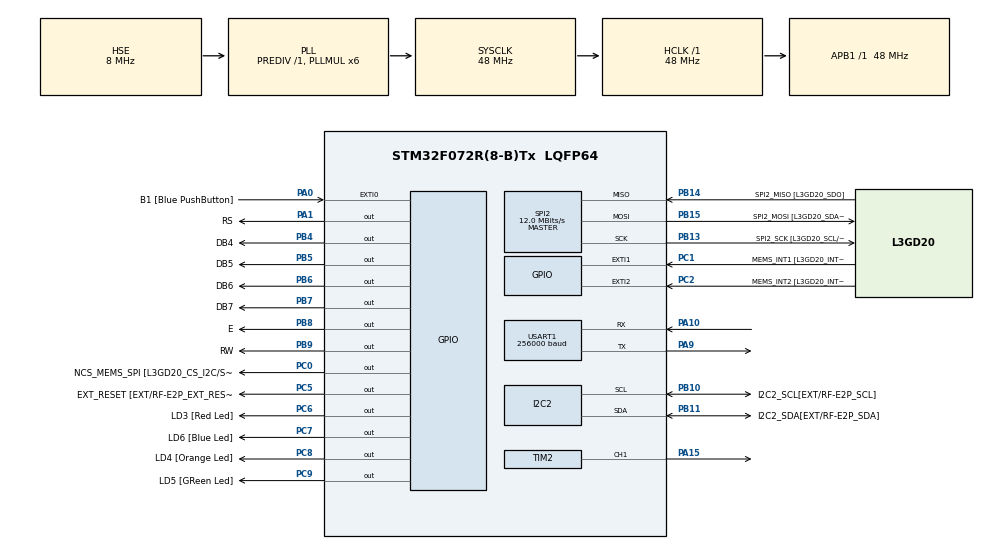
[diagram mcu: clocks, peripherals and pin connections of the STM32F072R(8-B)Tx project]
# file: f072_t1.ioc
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ADC.ContinuousConvMode=ENABLE
ADC.DMAContinuousRequests=ENABLE
ADC.SamplingTime=ADC_SAMPLETIME_239CYCLES_5
Dma.ADC.2.Direction=DMA_PERIPH_TO_MEMORY
Dma.ADC.2.Instance=DMA1_Channel1
Dma.ADC.2.MemDataAlignment=DMA_MDATAALIGN_HALFWORD
Dma.ADC.2.MemInc=DMA_MINC_ENABLE
Dma.ADC.2.Mode=DMA_CIRCULAR
Dma.ADC.2.PeriphDataAlignment=DMA_PDATAALIGN_HALFWORD
Dma.ADC.2.PeriphInc=DMA_PINC_DISABLE
Dma.ADC.2.Priority=DMA_PRIORITY_LOW
Dma.Request0=USART1_RX
Dma.Request1=USART1_TX
Dma.Request2=ADC
Dma.USART1_RX.0.Direction=DMA_PERIPH_TO_MEMORY
Dma.USART1_RX.0.Instance=DMA1_Channel3
Dma.USART1_RX.0.MemDataAlignment=DMA_MDATAALIGN_BYTE
Dma.USART1_RX.0.MemInc=DMA_MINC_ENABLE
Dma.USART1_RX.0.Mode=DMA_NORMAL
Dma.USART1_RX.0.PeriphDataAlignment=DMA_PDATAALIGN_BYTE
Dma.USART1_RX.0.PeriphInc=DMA_PINC_DISABLE
Dma.USART1_RX.0.Priority=DMA_PRIORITY_LOW
Dma.USART1_TX.1.Direction=DMA_MEMORY_TO_PERIPH
Dma.USART1_TX.1.Instance=DMA1_Channel2
Dma.USART1_TX.1.MemDataAlignment=DMA_MDATAALIGN_BYTE
Dma.USART1_TX.1.MemInc=DMA_MINC_ENABLE
Dma.USART1_TX.1.Mode=DMA_NORMAL
Dma.USART1_TX.1.PeriphDataAlignment=DMA_PDATAALIGN_BYTE
Dma.USART1_TX.1.PeriphInc=DMA_PINC_DISABLE
Dma.USART1_TX.1.Priority=DMA_PRIORITY_LOW
I2C2.Timing=0x20303E5D
IWDG.Prescaler=IWDG_PRESCALER_256
Mcu.Family=STM32F0
Mcu.Name=STM32F072R(8-B)Tx
Mcu.Package=LQFP64
Mcu.UserConstants=SYS_TICK_HZ,1000
NVIC.DMA1_Channel1_IRQn=true\:0\:0\:false\:false\:true\:false\:true\:true
NVIC.DMA1_Channel2_3_IRQn=true\:0\:0\:false\:false\:true\:false\:true\:true
PA0.GPIO_Label=B1 [Blue PushButton]
PA0.GPIO_ModeDefaultEXTI=GPIO_MODE_EVT_RISING
PA0.Signal=GPXTI0
PA1.GPIO_Label=RS
PA1.Signal=GPIO_Output
PA10.Mode=Asynchronous
PA10.Signal=USART1_RX
PA11.GPIO_Label=USBF4_DM
PA11.Signal=USB_DM
PA12.GPIO_Label=USBF4_DP
PA12.Signal=USB_DP
PA13.GPIO_Label=SWDIO
PA13.Mode=Serial_Wire
PA13.Signal=SYS_SWDIO
PA14.GPIO_Label=SWCLK
PA14.Mode=Serial_Wire
PA14.Signal=SYS_SWCLK
PA15.Signal=S_TIM2_CH1_ETR
PA9.Mode=Asynchronous
PA9.Signal=USART1_TX
PB0.Signal=TSC_G3_IO2
PB1.Signal=TSC_G3_IO3
PB10.GPIO_Label=I2C2_SCL[EXT/RF-E2P_SCL]
PB10.GPIO_Pu=GPIO_PULLUP
PB10.Mode=I2C
PB10.Signal=I2C2_SCL
PB11.GPIO_Label=I2C2_SDA[EXT/RF-E2P_SDA]
PB11.GPIO_Pu=GPIO_PULLUP
PB11.Mode=I2C
PB11.Signal=I2C2_SDA
PB13.GPIO_Label=SPI2_SCK [L3GD20_SCL/SPC]
PB13.Mode=Full_Duplex_Master
PB13.Signal=SPI2_SCK
PB14.GPIO_Label=SPI2_MISO [L3GD20_SDO]
PB14.Mode=Full_Duplex_Master
PB14.Signal=SPI2_MISO
PB15.GPIO_Label=SPI2_MOSI [L3GD20_SDA/SDI]
PB15.Mode=Full_Duplex_Master
PB15.Signal=SPI2_MOSI
PB4.GPIO_Label=DB4
PB4.GPIO_ModeDefaultOutputPP=GPIO_MODE_OUTPUT_PP
PB4.Signal=GPIO_Output
PB5.GPIO_Label=DB5
PB5.GPIO_ModeDefaultOutputPP=GPIO_MODE_OUTPUT_PP
PB5.Signal=GPIO_Output
PB6.GPIO_Label=DB6
PB6.GPIO_ModeDefaultOutputPP=GPIO_MODE_OUTPUT_PP
PB6.Signal=GPIO_Output
PB7.GPIO_Label=DB7
PB7.GPIO_ModeDefaultOutputPP=GPIO_MODE_OUTPUT_PP
PB7.Signal=GPIO_Output
PB8.GPIO_Label=E
PB8.Signal=GPIO_Output
PB9.GPIO_Label=RW
PB9.Signal=GPIO_Output
PC0.GPIO_Label=NCS_MEMS_SPI [L3GD20_CS_I2C/SPI]
PC0.Signal=GPIO_Output
PC1.GPIO_Label=MEMS_INT1 [L3GD20_INT1]
PC1.GPIO_ModeDefaultEXTI=GPIO_MODE_EVT_RISING
PC1.Signal=GPXTI1
PC2.GPIO_Label=MEMS_INT2 [L3GD20_INT2]
PC2.GPIO_ModeDefaultEXTI=GPIO_MODE_EVT_RISING
PC2.Signal=GPXTI2
PC5.GPIO_Label=EXT_RESET [EXT/RF-E2P_EXT_RESET]
PC5.Signal=GPIO_Output
PC6.GPIO_Label=LD3 [Red Led]
PC6.Signal=GPIO_Output
PC7.GPIO_Label=LD6 [Blue Led]
PC7.Signal=GPIO_Output
PC8.GPIO_Label=LD4 [Orange Led]
PC8.Signal=GPIO_Output
PC9.GPIO_Label=LD5 [GReen Led]
PC9.Signal=GPIO_Output
PF0-OSC_IN.Mode=HSE-External-Clock-Source
PF0-OSC_IN.Signal=RCC_OSC_IN
ProjectManager.HeapSize=0x200
ProjectManager.StackSize=0x400
ProjectManager.TargetToolchain=STM32CubeIDE
RCC.AHBFreq_Value=48000000
RCC.APB1Freq_Value=48000000
RCC.APB1TimFreq_Value=48000000
RCC.HCLKFreq_Value=48000000
RCC.PLLMUL=RCC_PLL_MUL6
RCC.PLLSourceVirtual=RCC_PLLSOURCE_HSE
RCC.SYSCLKFreq_VALUE=48000000
RCC.SYSCLKSource=RCC_SYSCLKSOURCE_PLLCLK
RCC.VDD_VALUE=3
RTC.Date=22
RTC.Format=RTC_FORMAT_BIN
RTC.Hours=10
RTC.Minutes=11
RTC.Month=RTC_MONTH_FEBRUARY
RTC.Seconds=22
RTC.Year=18
SH.S_TIM2_CH1_ETR.0=TIM2_CH1,PWM Generation1 CH1
SPI2.BaudRatePrescaler=SPI_BAUDRATEPRESCALER_4
SPI2.CalculateBaudRate=12.0 MBits/s
SPI2.Direction=SPI_DIRECTION_2LINES
SPI2.Mode=SPI_MODE_MASTER
SPI2.VirtualType=VM_MASTER
TIM2.Channel-PWM\ Generation1\ CH1=TIM_CHANNEL_1
TIM2.Period=1000
TIM2.Pulse-PWM\ Generation1\ CH1=100
USART1.BaudRate=256000
USART1.VirtualMode-Asynchronous=VM_ASYNC
USART1.WordLength=WORDLENGTH_8B
VP_ADC_TempSens_Input.Mode=IN-TempSens
VP_ADC_Vbat_Input.Mode=IN-Vbat
VP_ADC_Vref_Input.Mode=IN-Vrefint
VP_CRC_VS_CRC.Mode=CRC_Activate
VP_IWDG_VS_IWDG.Mode=IWDG_Activate
VP_RTC_VS_RTC_Activate.Mode=RTC_Enabled
VP_RTC_VS_RTC_Calendar.Mode=RTC_Calendar
VP_TIM2_VS_ClockSourceINT.Mode=Internal
board=STM32F072B-DISCO

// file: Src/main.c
/* USER CODE BEGIN Header */
/**
 ******************************************************************************
 * @file           : main.c
 * @brief          : Main program body
 ******************************************************************************
 * @attention
 *
 * Copyright (c) 2026 STMicroelectronics.
 * All rights reserved.
 *
 * This software is licensed under terms that can be found in the LICENSE file
 * in the root directory of this software component.
 * If no LICENSE file comes with this software, it is provided AS-IS.
 *
 ******************************************************************************
 */
/* USER CODE END Header */
#include "main.h"
#include "adc.h"
#include "crc.h"
#include "dma.h"
#include "i2c.h"
#include "iwdg.h"
#include "rtc.h"
#include "spi.h"
#include "tim.h"
#include "usart.h"
#include "gpio.h"

/* USER CODE BEGIN Includes */
#include <stdio.h>
#include <string.h>
#include <stdint.h>
#include <stdlib.h>

#include "retarget_io_drv.h"

#include "lcd_st7735.h"

/* USER CODE END Includes */

/* USER CODE BEGIN PV */
/* Private variables ---------------------------------------------------------*/

/* USER CODE END PV */

void SystemClock_Config(void);
/* USER CODE BEGIN PFP */
/* Private function prototypes -----------------------------------------------*/

/* USER CODE END PFP */

/* USER CODE BEGIN 0 */
#define	ADC_CHAN_NO	3
__IO uint16_t g_ADCBuf[ADC_CHAN_NO];

__IO uint16_t g_ADCBuf[ADC_CHAN_NO];

uint8_t tmp_color_idx = 0;
const uint16_t tmp_color_table[] = { WHITE, BLACK, RED, GREEN, BLUE };
#define	COLOR_TABLE_LEN	(sizeof(tmp_color_table) / sizeof(tmp_color_table[0]))
uint8_t test_y_idx = 0;
/* USER CODE END 0 */

int main(void)
{

  /* USER CODE BEGIN 1 */
	uint8_t testBuf[21];

  /* USER CODE END 1 */

  /* MCU Configuration--------------------------------------------------------*/

  /* Reset of all peripherals, Initializes the Flash interface and the Systick. */
  HAL_Init();

  /* Configure the system clock */
  SystemClock_Config();

  /* Initialize all configured peripherals */
  MX_GPIO_Init();
  MX_DMA_Init();
  MX_SPI2_Init();
  MX_I2C2_Init();
  MX_USART1_UART_Init();
  MX_CRC_Init();
  MX_ADC_Init();
  MX_RTC_Init();
  MX_IWDG_Init();
  MX_TIM2_Init();
  /* USER CODE BEGIN 2 */
	printf("F072 Discovery Test CM0 rev:%u, @ %u Hz\n %u %u %u\n",
	__CM0_REV, SystemCoreClock, *(uint16_t*) (0x1FFFF7B8),
			*(uint16_t*) (0x1FFFF7C2), *(uint16_t*) (0x1FFFF7BA));
	printf("%08X, %08X\n", SCB->CPUID, (1UL << SCB_AIRCR_ENDIANESS_Pos));

	HAL_TIM_Base_Start(&htim2);
	HAL_TIM_PWM_Start(&htim2, TIM_CHANNEL_1);
	__HAL_TIM_SET_COMPARE(&htim2, TIM_CHANNEL_1, 320);

	HAL_ADC_Start_DMA(&hadc, (uint32_t*) g_ADCBuf, ADC_CHAN_NO);

	st7735_Init();

	Lcd_Clear(WHITE);

	Gui_DrawFont_GBK16(0, 60, BLUE, GRAY0, "N:1");
	Gui_DrawFont_GBK16(20, 20, RED, GRAY0, "X:2");
  /* USER CODE END 2 */

  /* Infinite loop */
  /* USER CODE BEGIN WHILE */
	uint8_t g_line_buf[40] = { };
	while (1) {
		HAL_Delay(1500);

		HAL_GPIO_TogglePin(LD3_GPIO_Port, LD3_Pin);
		HAL_GPIO_TogglePin(LD4_GPIO_Port, LD4_Pin);
		HAL_GPIO_TogglePin(LD5_GPIO_Port, LD5_Pin);
		HAL_GPIO_TogglePin(LD6_GPIO_Port, LD6_Pin);

		HAL_IWDG_Refresh(&hiwdg);
    /* USER CODE END WHILE */

    /* USER CODE BEGIN 3 */
		uint32_t tmp_ticks = HAL_GetTick();
		//		Lcd_Clear(tmp_color_table[tmp_color_idx]);
		Gui_DrawLine(0, test_y_idx, ST7735_LCD_PIXEL_WIDTH - 1, test_y_idx,
				RED);
		uint32_t delta_ticks = HAL_GetTick() - tmp_ticks;

		printf("%u %u %u %u\n", g_ADCBuf[0], g_ADCBuf[1], g_ADCBuf[2],
				delta_ticks);

		sprintf(g_line_buf, "%u %u %u", g_ADCBuf[0], delta_ticks, test_y_idx);
		Gui_DrawFont_GBK16(20, 20, ~tmp_color_table[tmp_color_idx],
				tmp_color_table[tmp_color_idx], g_line_buf);
		//		tmp_color_idx = (tmp_color_idx + 1) % COLOR_TABLE_LEN;

		test_y_idx = (test_y_idx + 1) % ST7735_LCD_PIXEL_HEIGHT;
	}
  /* USER CODE END 3 */
}

void SystemClock_Config(void)
{
  RCC_OscInitTypeDef RCC_OscInitStruct = {0};
  RCC_ClkInitTypeDef RCC_ClkInitStruct = {0};
  RCC_PeriphCLKInitTypeDef PeriphClkInit = {0};

  /** Initializes the RCC Oscillators according to the specified parameters
  * in the RCC_OscInitTypeDef structure.
  */
  RCC_OscInitStruct.OscillatorType = RCC_OSCILLATORTYPE_HSI14|RCC_OSCILLATORTYPE_LSI
                              |RCC_OSCILLATORTYPE_HSE;
  RCC_OscInitStruct.HSEState = RCC_HSE_BYPASS;
  RCC_OscInitStruct.HSI14State = RCC_HSI14_ON;
  RCC_OscInitStruct.HSI14CalibrationValue = 16;
  RCC_OscInitStruct.LSIState = RCC_LSI_ON;
  RCC_OscInitStruct.PLL.PLLState = RCC_PLL_ON;
  RCC_OscInitStruct.PLL.PLLSource = RCC_PLLSOURCE_HSE;
  RCC_OscInitStruct.PLL.PLLMUL = RCC_PLL_MUL6;
  RCC_OscInitStruct.PLL.PREDIV = RCC_PREDIV_DIV1;
  if (HAL_RCC_OscConfig(&RCC_OscInitStruct) != HAL_OK)
  {
    Error_Handler();
  }

  /** Initializes the CPU, AHB and APB buses clocks
  */
  RCC_ClkInitStruct.ClockType = RCC_CLOCKTYPE_HCLK|RCC_CLOCKTYPE_SYSCLK
                              |RCC_CLOCKTYPE_PCLK1;
  RCC_ClkInitStruct.SYSCLKSource = RCC_SYSCLKSOURCE_PLLCLK;
  RCC_ClkInitStruct.AHBCLKDivider = RCC_SYSCLK_DIV1;
  RCC_ClkInitStruct.APB1CLKDivider = RCC_HCLK_DIV1;

  if (HAL_RCC_ClockConfig(&RCC_ClkInitStruct, FLASH_LATENCY_1) != HAL_OK)
  {
    Error_Handler();
  }
  PeriphClkInit.PeriphClockSelection = RCC_PERIPHCLK_USART1|RCC_PERIPHCLK_RTC;
  PeriphClkInit.Usart1ClockSelection = RCC_USART1CLKSOURCE_PCLK1;
  PeriphClkInit.RTCClockSelection = RCC_RTCCLKSOURCE_LSI;
  if (HAL_RCCEx_PeriphCLKConfig(&PeriphClkInit) != HAL_OK)
  {
    Error_Handler();
  }
}

void Error_Handler(void)
{
	while (1) {
	}
}
